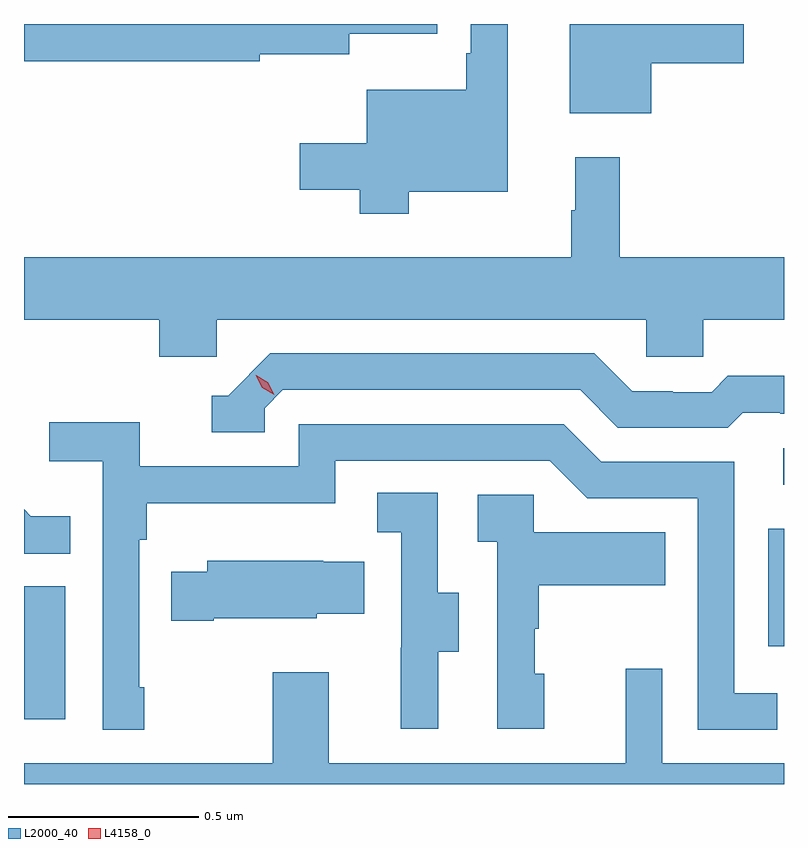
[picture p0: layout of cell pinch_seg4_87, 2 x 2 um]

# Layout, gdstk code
import gdstk
lib = gdstk.Library(unit=1e-6, precision=1e-09)
def R(c, l, rs):  # rectangles x0, y0, x1, y1
    for r in rs: c.add(gdstk.rectangle(r[:2], r[2:], *l))
def P(c, l, *ps):  # polygons
    for p in ps: c.add(gdstk.Polygon(p, *l))
L2000_40 = (2000, 40)
L4158_0 = (4158, 0)

pinch_seg4_87 = lib.new_cell('pinch_seg4_87')
R(pinch_seg4_87, L2000_40, [(1053.615,822.408,1053.724,822.759), (1055.574,822.6,1055.615,822.91), (1055.613,823.026,1055.615,823.122)])
P(pinch_seg4_87, L2000_40, [(1054.627,823.796),(1054.888,823.796),(1054.888,824.238),(1054.791,824.238),(1054.791,824.161),(1054.779,824.161),(1054.779,824.065),(1054.517,824.065),(1054.517,823.924),(1054.341,823.924),(1054.341,823.802),(1054.498,823.802),(1054.498,823.739),(1054.627,823.739)],
  [(1054.236,824.158),(1054.471,824.158),(1054.471,824.213),(1054.702,824.213),(1054.702,824.238),(1053.615,824.238),(1053.615,824.14),(1054.236,824.14)],
  [(1055.266,824.135),(1055.509,824.135),(1055.509,824.238),(1055.051,824.238),(1055.051,824.003),(1055.266,824.003)],
  [(1054.122,823.46),(1055.253,823.46),(1055.253,823.362),(1055.403,823.362),(1055.403,823.46),(1055.615,823.46),(1055.615,823.624),(1055.183,823.624),(1055.183,823.888),(1055.066,823.888),(1055.066,823.748),(1055.055,823.748),(1055.055,823.624),(1053.615,823.624),(1053.615,823.46),(1053.971,823.46),(1053.971,823.362),(1054.122,823.362)],
  [(1054.248,823.227),(1054.296,823.275),(1055.079,823.275),(1055.178,823.176),(1055.467,823.176),(1055.506,823.215),(1055.605,823.215),(1055.605,823.212),(1055.615,823.212),(1055.615,823.312),(1055.467,823.312),(1055.425,823.269),(1055.322,823.269),(1055.322,823.272),(1055.215,823.272),(1055.116,823.371),(1054.263,823.371),(1054.152,823.26),(1054.109,823.26),(1054.109,823.164),(1054.248,823.164)],
  [(1053.931,822.493),(1053.918,822.493),(1053.918,822.881),(1053.938,822.881),(1053.938,822.977),(1054.434,822.977),(1054.434,823.089),(1054.998,823.089),(1055.097,822.99),(1055.388,822.99),(1055.388,822.381),(1055.597,822.381),(1055.597,822.477),(1055.484,822.477),(1055.484,823.086),(1055.134,823.086),(1055.035,823.185),(1054.338,823.185),(1054.338,823.074),(1053.92,823.074),(1053.92,823.19),(1053.681,823.19),(1053.681,823.088),(1053.822,823.088),(1053.822,822.381),(1053.931,822.381)],
  [(1054.705,822.586),(1054.759,822.586),(1054.759,822.741),(1054.704,822.741),(1054.704,823.004),(1054.545,823.004),(1054.545,822.901),(1054.608,822.901),(1054.608,822.597),(1054.607,822.597),(1054.607,822.384),(1054.705,822.384)],
  [(1054.984,822.528),(1054.959,822.528),(1054.959,822.647),(1054.969,822.647),(1054.969,822.761),(1055.303,822.761),(1055.303,822.901),(1054.956,822.901),(1054.956,822.999),(1054.809,822.999),(1054.809,822.875),(1054.86,822.875),(1054.86,822.384),(1054.984,822.384)],
  [(1053.737,822.943),(1053.633,822.943),(1053.615,822.961),(1053.615,822.844),(1053.737,822.844)],
  [(1054.114,822.674),(1054.386,822.674),(1054.386,822.686),(1054.511,822.686),(1054.511,822.823),(1054.403,822.823),(1054.403,822.826),(1054.097,822.826),(1054.097,822.796),(1054.003,822.796),(1054.003,822.667),(1054.114,822.667)],
  [(1055.615,822.292),(1055.295,822.292),(1055.295,822.541),(1055.198,822.541),(1055.198,822.292),(1054.417,822.292),(1054.417,822.532),(1054.27,822.532),(1054.27,822.292),(1053.615,822.292),(1053.615,822.238),(1055.615,822.238)])
P(pinch_seg4_87, L4158_0, [(1054.273,823.262),(1054.242,823.281),(1054.225,823.314),(1054.225,823.314),(1054.226,823.314),(1054.257,823.295),(1054.273,823.262),(1054.273,823.262)])

lib.write_gds('pinch_seg4_87.gds')
